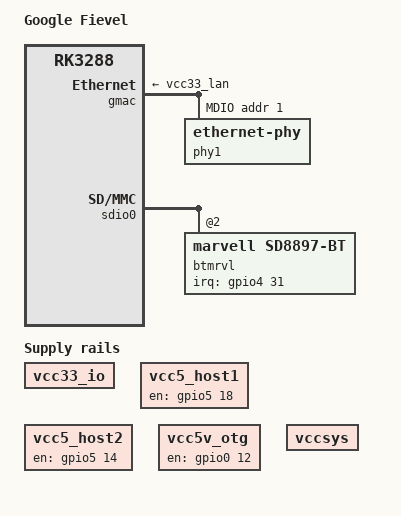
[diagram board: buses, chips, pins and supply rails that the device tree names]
/*
 * Google Veyron Fievel Rev 0+ board device tree source
 *
 * Copyright 2016 Google, Inc
 *
 * This program is free software; you can redistribute it and/or modify
 * it under the terms of the GNU General Public License version 2 as
 * published by the Free Software Foundation.
 */

/dts-v1/;
#include "rk3288-veyron.dtsi"
#include "rk3288-veyron-analog-audio.dtsi"
#include "rk3288-veyron-ethernet.dtsi"
#include "rk3288-veyron-lpddr.dtsi"

/ {
	model = "Google Fievel";
	compatible = "google,veyron-fievel-rev8", "google,veyron-fievel-rev7",
		     "google,veyron-fievel-rev6", "google,veyron-fievel-rev5",
		     "google,veyron-fievel-rev4", "google,veyron-fievel-rev3",
		     "google,veyron-fievel-rev2", "google,veyron-fievel-rev1",
		     "google,veyron-fievel-rev0", "google,veyron-fievel",
		     "google,veyron", "rockchip,rk3288";

	/* vcc33_pmuio and vcc33_io is sourced directly from vcc33_sys,
	 * enabled by vcc_18 */
	vcc33_io: vcc33-io {
		compatible = "regulator-fixed";
		regulator-always-on;
		regulator-boot-on;
		regulator-name = "vcc33_io";
	};

	vcc5_host1: vcc5-host1-regulator {
		compatible = "regulator-fixed";
		enable-active-high;
		gpio = <&gpio5 18 GPIO_ACTIVE_HIGH>;
		pinctrl-names = "default";
		pinctrl-0 = <&hub_usb1_pwr_en>;
		regulator-name = "vcc5_host1";
		regulator-always-on;
		regulator-boot-on;
	};

	vcc5_host2: vcc5-host2-regulator {
		compatible = "regulator-fixed";
		enable-active-high;
		gpio = <&gpio5 14 GPIO_ACTIVE_HIGH>;
		pinctrl-names = "default";
		pinctrl-0 = <&hub_usb2_pwr_en>;
		regulator-name = "vcc5_host2";
		regulator-always-on;
		regulator-boot-on;
	};

	vcc5v_otg: vcc5v-otg-regulator {
		compatible = "regulator-fixed";
		enable-active-high;
		gpio = <&gpio0 12 GPIO_ACTIVE_HIGH>;
		pinctrl-names = "default";
		pinctrl-0 = <&usb_otg_pwr_en>;
		regulator-name = "vcc5_otg";
		regulator-always-on;
		regulator-boot-on;
	};

	vccsys: vccsys {
		compatible = "regulator-fixed";
		regulator-name = "vccsys";
		regulator-boot-on;
		regulator-always-on;
	};
};

&dmc {
	status = "disabled";
};

&gmac {
	phy-supply = <&vcc33_lan>;
	wakeup-source;
	mdio0 {
		#address-cells = <1>;
		#size-cells = <0>;
		compatible = "snps,dwmac-mdio";
		phy1: ethernet-phy@1 {
			reg = <1>;
			enable-phy-ssc;
		};
	};
};

&gpio_keys {
	pinctrl-0 = <&pwr_key_l>;

	/* let btmrvl handle bt wake */
	/delete-node/ bt-wake;
};

&rk808 {
	pinctrl-names = "default";
	pinctrl-0 = <&pmic_int_l &dvs_1 &dvs_2>;
	dvs-gpios = <&gpio7 12 GPIO_ACTIVE_HIGH>,
		    <&gpio7 15 GPIO_ACTIVE_HIGH>;

	vcc6-supply = <&vcc33_sys>;
	vcc10-supply = <&vcc33_sys>;
	vcc11-supply = <&vcc_5v>;
	vcc12-supply = <&vcc33_sys>;

	regulators {
		/delete-node/ LDO_REG1;

		/* According to the schematic, vcc18_lcdt is for
		 * HDMI_AVDD_1V8
		 */
		vcc18_lcdt: LDO_REG2 {
			regulator-always-on;
			regulator-boot-on;
			regulator-min-microvolt = <1800000>;
			regulator-max-microvolt = <1800000>;
			regulator-name = "vdd18_lcdt";
			regulator-suspend-mem-disabled;
		};

		/* This is not a pwren anymore, but the real power supply,
		 * vdd10_lcd for HDMI_AVDD_1V0
		 */
		vdd10_lcd: LDO_REG7 {
			regulator-always-on;
			regulator-boot-on;
			regulator-min-microvolt = <1000000>;
			regulator-max-microvolt = <1000000>;
			regulator-name = "vdd10_lcd";
			regulator-suspend-mem-disabled;
		};

		/* for usb camera */
		vcc33_ccd: LDO_REG8 {
			regulator-always-on;
			regulator-boot-on;
			regulator-min-microvolt = <3300000>;
			regulator-max-microvolt = <3300000>;
			regulator-name = "vcc33_ccd";
			regulator-suspend-mem-disabled;
		};

		vcc33_lan: SWITCH_REG2 {
			regulator-name = "vcc33_lan";
		};
	};
};

&sdio0 {
	#address-cells = <1>;
	#size-cells = <0>;

	btmrvl: btmrvl@2 {
		compatible = "marvell,sd8897-bt";
		reg = <2>;
		interrupt-parent = <&gpio4>;
		interrupts = <31 IRQ_TYPE_LEVEL_LOW>;
		marvell,wakeup-pin = /bits/ 16 <13>;
		pinctrl-names = "default";
		pinctrl-0 = <&bt_host_wake_l>;
	};
};

&vcc50_hdmi {
	enable-active-high;
	gpio = <&gpio5 19 GPIO_ACTIVE_HIGH>;
	pinctrl-names = "default";
	pinctrl-0 = <&vcc50_hdmi_en>;
};

&vcc_5v {
	enable-active-high;
	gpio = <&gpio7 21 GPIO_ACTIVE_HIGH>;
	pinctrl-names = "default";
	pinctrl-0 = <&drv_5v>;
};

&pinctrl {
	pinctrl-names = "default", "sleep";
	pinctrl-0 = <
		/* Common for sleep and wake, but no owners */
		&ddr0_retention
		&ddrio_pwroff
		&global_pwroff

		/* For usb bc1.2 */
		&usb_otg_ilim_sel
		&usb_usb_ilim_sel

		/* Wake only */
		&bt_dev_wake_awake
		&pwr_led1_on
	>;
	pinctrl-1 = <
		/* Common for sleep and wake, but no owners */
		&ddr0_retention
		&ddrio_pwroff
		&global_pwroff

		/* Sleep only */
		&bt_dev_wake_sleep
		&pwr_led1_blink
	>;

	buck-5v {
		drv_5v: drv-5v {
			rockchip,pins = <7 21 RK_FUNC_GPIO &pcfg_pull_none>;
		};
	};

	hdmi {
		vcc50_hdmi_en: vcc50-hdmi-en {
			rockchip,pins = <5 19 RK_FUNC_GPIO &pcfg_pull_none>;
		};
	};

	leds {
		pwr_led1_on: pwr-led1-on {
			rockchip,pins = <7 3 RK_FUNC_GPIO &pcfg_output_low>;
		};

		pwr_led1_blink: pwr-led1-blink {
			rockchip,pins = <7 3 RK_FUNC_GPIO &pcfg_output_high>;
		};
	};

	pmic {
		dvs_1: dvs-1 {
			rockchip,pins = <7 12 RK_FUNC_GPIO &pcfg_pull_down>;
		};

		dvs_2: dvs-2 {
			rockchip,pins = <7 15 RK_FUNC_GPIO &pcfg_pull_down>;
		};
	};

	usb-bc12 {
		usb_otg_ilim_sel: usb-otg-ilim-sel {
			rockchip,pins = <6 17 RK_FUNC_GPIO &pcfg_output_low>;
		};

		usb_usb_ilim_sel: usb-usb-ilim-sel {
			rockchip,pins = <5 15 RK_FUNC_GPIO &pcfg_output_low>;
		};
	};

	usb-host {
		hub_usb1_pwr_en: hub_usb1_pwr_en {
			rockchip,pins = <5 18 RK_FUNC_GPIO &pcfg_pull_none>;
		};

		hub_usb2_pwr_en: hub_usb2_pwr_en {
			rockchip,pins = <5 14 RK_FUNC_GPIO &pcfg_pull_none>;
		};

		usb_otg_pwr_en: usb_otg_pwr_en {
			rockchip,pins = <0 12 RK_FUNC_GPIO &pcfg_pull_none>;
		};
	};
};
